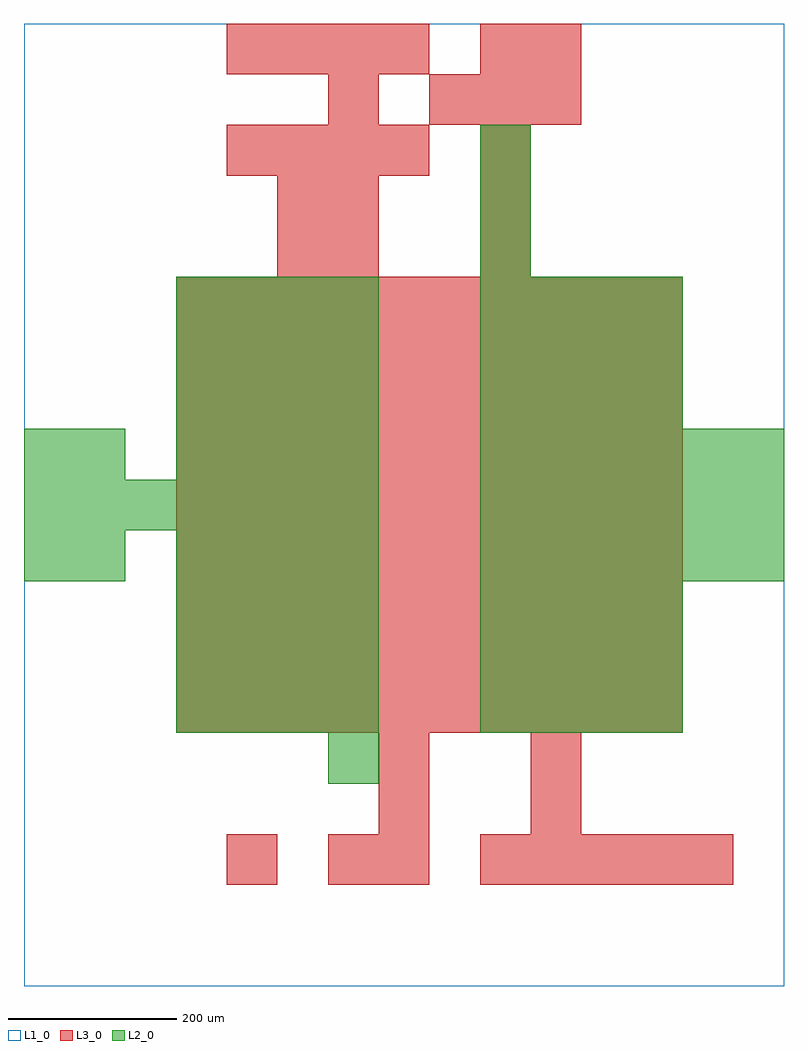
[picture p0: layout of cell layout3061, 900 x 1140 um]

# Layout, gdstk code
import gdstk
lib = gdstk.Library(unit=1e-6, precision=1e-09)
def R(c, l, rs):  # rectangles x0, y0, x1, y1
    for r in rs: c.add(gdstk.rectangle(r[:2], r[2:], *l))
def A(c, l, x, y, w, h, nx, ny, dx, dy):  # array of equal rectangles
    R(c, l, [(x+i*dx, y+j*dy, x+i*dx+w, y+j*dy+h) for i in range(nx) for j in range(ny)])
L1_0 = (1, 0)
L2_0 = (2, 0)
L3_0 = (3, 0)

layout3061 = lib.new_cell('layout3061')
R(layout3061, L1_0, [(0,0,900,1140)])
A(layout3061, L2_0, 180, 300, 60, 60, 4, 4, 60, 60)
A(layout3061, L2_0, 540, 300, 60, 60, 4, 3, 60, 60)
A(layout3061, L2_0, 540, 480, 60, 60, 6, 3, 60, 60)
A(layout3061, L2_0, 0, 540, 60, 60, 7, 1, 60, 0)
A(layout3061, L2_0, 180, 600, 60, 60, 4, 4, 60, 60)
A(layout3061, L2_0, 540, 660, 60, 60, 4, 3, 60, 60)
A(layout3061, L2_0, 540, 840, 60, 60, 1, 3, 0, 60)
R(layout3061, L2_0, [(360,240,420,300), (0,480,60,540), (60,480,120,540), (0,600,60,660), (60,600,120,660)])
A(layout3061, L3_0, 420, 120, 60, 60, 1, 3, 0, 60)
A(layout3061, L3_0, 540, 120, 60, 60, 5, 1, 60, 0)
A(layout3061, L3_0, 180, 300, 60, 60, 10, 9, 60, 60)
A(layout3061, L3_0, 540, 840, 60, 60, 1, 3, 0, 60)
A(layout3061, L3_0, 240, 960, 60, 60, 4, 2, 60, 120)
A(layout3061, L3_0, 480, 1020, 60, 60, 3, 1, 60, 0)
R(layout3061, L3_0, [(240,120,300,180), (360,120,420,180), (600,180,660,240), (600,240,660,300), (300,840,360,900), (360,840,420,900), (300,900,360,960), (360,900,420,960), (360,1020,420,1080), (540,1080,600,1140), (600,1080,660,1140)])

lib.write_gds('layout3061.gds')
